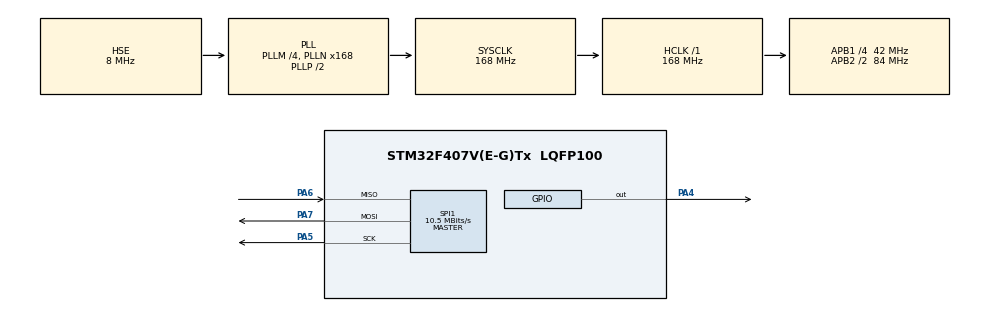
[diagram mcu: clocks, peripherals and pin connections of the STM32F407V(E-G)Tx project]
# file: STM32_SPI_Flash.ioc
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FATFS._MAX_SS=4096
Mcu.Family=STM32F4
Mcu.Name=STM32F407V(E-G)Tx
Mcu.Package=LQFP100
NVIC.PriorityGroup=NVIC_PRIORITYGROUP_4
PA4.Signal=GPIO_Output
PA5.Mode=Full_Duplex_Master
PA5.Signal=SPI1_SCK
PA6.Mode=Full_Duplex_Master
PA6.Signal=SPI1_MISO
PA7.Mode=Full_Duplex_Master
PA7.Signal=SPI1_MOSI
PH0-OSC_IN.Mode=HSE-External-Oscillator
PH0-OSC_IN.Signal=RCC_OSC_IN
PH1-OSC_OUT.Mode=HSE-External-Oscillator
PH1-OSC_OUT.Signal=RCC_OSC_OUT
ProjectManager.HeapSize=0x2000
ProjectManager.StackSize=0x4000
ProjectManager.TargetToolchain=STM32CubeIDE
RCC.48MHZClocksFreq_Value=84000000
RCC.AHBFreq_Value=168000000
RCC.APB1CLKDivider=RCC_HCLK_DIV4
RCC.APB1Freq_Value=42000000
RCC.APB1TimFreq_Value=84000000
RCC.APB2CLKDivider=RCC_HCLK_DIV2
RCC.APB2Freq_Value=84000000
RCC.APB2TimFreq_Value=168000000
RCC.CortexFreq_Value=168000000
RCC.HCLKFreq_Value=168000000
RCC.HSE_VALUE=8000000
RCC.HSI_VALUE=16000000
RCC.LSE_VALUE=32768
RCC.PLLM=4
RCC.PLLN=168
RCC.PLLSourceVirtual=RCC_PLLSOURCE_HSE
RCC.SYSCLKFreq_VALUE=168000000
RCC.SYSCLKSource=RCC_SYSCLKSOURCE_PLLCLK
RCC.VCOOutputFreq_Value=336000000
SPI1.BaudRatePrescaler=SPI_BAUDRATEPRESCALER_8
SPI1.CalculateBaudRate=10.5 MBits/s
SPI1.Direction=SPI_DIRECTION_2LINES
SPI1.Mode=SPI_MODE_MASTER
SPI1.VirtualType=VM_MASTER
VP_FATFS_VS_Generic.Mode=User_defined
board=custom

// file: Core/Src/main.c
/* USER CODE BEGIN Header */
/**
  ******************************************************************************
  * @file           : main.c
  * @brief          : Main program body
  ******************************************************************************
  * @attention
  *
  * <h2><center>&copy; Copyright (c) 2021 STMicroelectronics.
  * All rights reserved.</center></h2>
  *
  * This software component is licensed by ST under BSD 3-Clause license,
  * the "License"; You may not use this file except in compliance with the
  * License. You may obtain a copy of the License at:
  *                        opensource.org/licenses/BSD-3-Clause
  *
  ******************************************************************************
  */
/* USER CODE END Header */
#include "main.h"
#include "fatfs.h"

/* USER CODE BEGIN Includes */
#include "spi_flash.h"
#include "ff_gen_drv.h"
/* USER CODE END Includes */

SPI_HandleTypeDef hspi1;

/* USER CODE BEGIN PV */
FATFS FatFs;
FRESULT fres;
FIL SFLASHPath[];
char buffer[4096];
char str[100] = {"Hello World\0"};
int brw;
/* USER CODE END PV */

void SystemClock_Config(void);
static void MX_GPIO_Init(void);
static void MX_SPI1_Init(void);

int main(void)
{

  /* MCU Configuration--------------------------------------------------------*/

  /* Reset of all peripherals, Initializes the Flash interface and the Systick. */
  HAL_Init();

  /* Configure the system clock */
  SystemClock_Config();

  /* Initialize all configured peripherals */
  MX_GPIO_Init();
  MX_SPI1_Init();
  MX_FATFS_Init();
  /* USER CODE BEGIN 2 */
  HAL_Delay(100);

  //format drive
  //fres = _mkfs("", FM_ANY, 0, buffer, sizeof(buffer));

  FATFS_LinkDriver(&USER_Driver, SFLASHPath);

  //Mount drive
  fres = f_mount(&FatFs, &SFLASHPath, 0);
  if (fres != FR_OK)
  {
    while(1);
  }

  fres = f_open(&SFLASHPath, "test.txt", FA_CREATE_ALWAYS | FA_WRITE);
  if (fres != FR_OK)
  {
 	 while(1);
  }
  else
  {
	  fres = f_write(&SFLASHPath, &str, sizeof(str), &brw);
  }
  f_close(&SFLASHPath);

  fres = f_open(&SFLASHPath, "test.txt", FA_READ);
  if (fres != FR_OK)
  {
	  while(1);
  }
  else
  {
	  fres = f_read(&SFLASHPath, &buffer, 11, &brw);
  }
  f_close(&SFLASHPath);
  /* USER CODE END 2 */

  /* Infinite loop */
  while (1)
  {

  }
}

void SystemClock_Config(void)
{
  RCC_OscInitTypeDef RCC_OscInitStruct = {0};
  RCC_ClkInitTypeDef RCC_ClkInitStruct = {0};

  /** Configure the main internal regulator output voltage
  */
  __HAL_RCC_PWR_CLK_ENABLE();
  __HAL_PWR_VOLTAGESCALING_CONFIG(PWR_REGULATOR_VOLTAGE_SCALE1);
  /** Initializes the RCC Oscillators according to the specified parameters
  * in the RCC_OscInitTypeDef structure.
  */
  RCC_OscInitStruct.OscillatorType = RCC_OSCILLATORTYPE_HSE;
  RCC_OscInitStruct.HSEState = RCC_HSE_ON;
  RCC_OscInitStruct.PLL.PLLState = RCC_PLL_ON;
  RCC_OscInitStruct.PLL.PLLSource = RCC_PLLSOURCE_HSE;
  RCC_OscInitStruct.PLL.PLLM = 4;
  RCC_OscInitStruct.PLL.PLLN = 168;
  RCC_OscInitStruct.PLL.PLLP = RCC_PLLP_DIV2;
  RCC_OscInitStruct.PLL.PLLQ = 4;
  if (HAL_RCC_OscConfig(&RCC_OscInitStruct) != HAL_OK)
  {
    Error_Handler();
  }
  /** Initializes the CPU, AHB and APB buses clocks
  */
  RCC_ClkInitStruct.ClockType = RCC_CLOCKTYPE_HCLK|RCC_CLOCKTYPE_SYSCLK
                              |RCC_CLOCKTYPE_PCLK1|RCC_CLOCKTYPE_PCLK2;
  RCC_ClkInitStruct.SYSCLKSource = RCC_SYSCLKSOURCE_PLLCLK;
  RCC_ClkInitStruct.AHBCLKDivider = RCC_SYSCLK_DIV1;
  RCC_ClkInitStruct.APB1CLKDivider = RCC_HCLK_DIV4;
  RCC_ClkInitStruct.APB2CLKDivider = RCC_HCLK_DIV2;

  if (HAL_RCC_ClockConfig(&RCC_ClkInitStruct, FLASH_LATENCY_5) != HAL_OK)
  {
    Error_Handler();
  }
}

static void MX_SPI1_Init(void)
{

  /* SPI1 parameter configuration*/
  hspi1.Instance = SPI1;
  hspi1.Init.Mode = SPI_MODE_MASTER;
  hspi1.Init.Direction = SPI_DIRECTION_2LINES;
  hspi1.Init.DataSize = SPI_DATASIZE_8BIT;
  hspi1.Init.CLKPolarity = SPI_POLARITY_LOW;
  hspi1.Init.CLKPhase = SPI_PHASE_1EDGE;
  hspi1.Init.NSS = SPI_NSS_SOFT;
  hspi1.Init.BaudRatePrescaler = SPI_BAUDRATEPRESCALER_8;
  hspi1.Init.FirstBit = SPI_FIRSTBIT_MSB;
  hspi1.Init.TIMode = SPI_TIMODE_DISABLE;
  hspi1.Init.CRCCalculation = SPI_CRCCALCULATION_DISABLE;
  hspi1.Init.CRCPolynomial = 10;
  if (HAL_SPI_Init(&hspi1) != HAL_OK)
  {
    Error_Handler();
  }

}

static void MX_GPIO_Init(void)
{
  GPIO_InitTypeDef GPIO_InitStruct = {0};

  /* GPIO Ports Clock Enable */
  __HAL_RCC_GPIOH_CLK_ENABLE();
  __HAL_RCC_GPIOA_CLK_ENABLE();

  /*Configure GPIO pin Output Level */
  HAL_GPIO_WritePin(GPIOA, GPIO_PIN_4, GPIO_PIN_RESET);

  /*Configure GPIO pin : PA4 */
  GPIO_InitStruct.Pin = GPIO_PIN_4;
  GPIO_InitStruct.Mode = GPIO_MODE_OUTPUT_PP;
  GPIO_InitStruct.Pull = GPIO_NOPULL;
  GPIO_InitStruct.Speed = GPIO_SPEED_FREQ_LOW;
  HAL_GPIO_Init(GPIOA, &GPIO_InitStruct);

}

void Error_Handler(void)
{
  __disable_irq();
  while (1)
  {
  }
}

/************************ (C) COPYRIGHT STMicroelectronics *****END OF FILE****/
